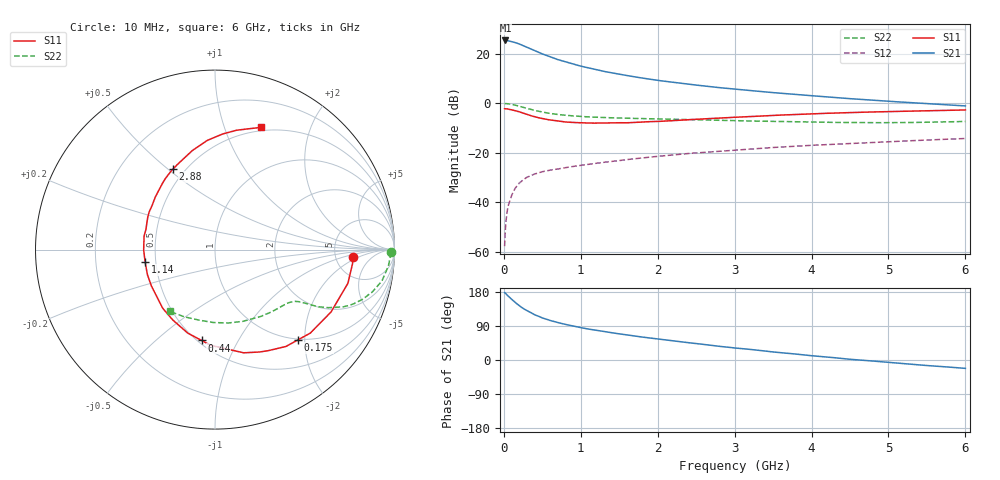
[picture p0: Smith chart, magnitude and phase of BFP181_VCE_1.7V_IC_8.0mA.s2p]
! Infineon Technologies  Discrete & RF Semiconductors
! BFP181
! VCE = 1.7 V,  IC =  8.0 mA
! Common Emitter S-Parameters:  Jan 2016
# GHz  S  MA  R  50
!  f  S11  S21  S12  S22
! GHz  MAG  ANG  MAG  ANG  MAG  ANG  MAG  ANG
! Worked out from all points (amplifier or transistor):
!   210 points, 10 MHz to 6 GHz, reference 50 ohm
!   highest |S21| = 25.3 dB at 20 MHz (marker M1)
!   |S21| within 3 dB of that: start of sweep to 320.4 MHz
!   unconditionally stable (mu >= 1): 1.113 GHz to end of sweep
!   at 185 MHz: K = 0.26, MSG = 28.4 dB, |S12| = -32.8 dB
!   at 1.52 GHz: K = 1.13, MAG = 15.1 dB, |S12| = -23.1 dB
!   at 6 GHz: K = 1.04, MAG = 5.4 dB, |S12| = -14.3 dB
!   S11 on the Smith chart (normalised r, x): 10 MHz: 7.31, -1.48; 175 MHz: 0.99, -1.86; 440 MHz: 0.52, -0.72; 1.14 GHz: 0.44, -0.07; 2.88 GHz: 0.43, +0.52; 6 GHz: 0.46, +1.34
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0.01  0.7678 -3.1  18.34 178.0  0.0013 75.6  0.9793 -0.9
0.02  0.7703 -5.8  18.35 176.4  0.0028 82.2  0.9782 -2.1
0.05  0.764 -14.2  18.19 169.9  0.0076 83.4  0.9701 -5.5
0.1  0.734 -28.3  17.43 160.4  0.0135 74.6  0.9464 -10.6
0.15  0.706 -41.2  16.59 151.4  0.0194 69.3  0.9083 -15.0
0.175  0.6833 -47.3  16.06 147.5  0.0218 66.8  0.8869 -16.8
0.2  0.6689 -53.8  15.61 143.3  0.0243 64.8  0.8664 -18.7
0.24  0.6361 -62.3  14.65 137.6  0.0274 61.5  0.8315 -21.2
0.3  0.5967 -74.5  13.42 130.2  0.0319 57.0  0.7818 -24.1
0.4  0.5337 -92.6  11.47 119.4  0.0371 52.1  0.7126 -27.0
0.44  0.5117 -98.4  10.79 116.3  0.0388 50.8  0.6911 -27.7
0.5  0.4896 -108.0  9.828 111.0  0.0413 49.1  0.6591 -28.9
0.7  0.4377 -131.8  7.559 98.8  0.0468 46.6  0.5886 -30.6
1.02  0.4001 -161.0  5.474 84.7  0.0559 45.5  0.5352 -32.6
1.14  0.3953 -169.9  4.958 80.4  0.0593 45.2  0.5234 -33.6
1.5  0.4023 169.1  3.822 68.9  0.0693 45.4  0.4993 -36.9
2.02  0.428 145.0  2.847 54.9  0.0848 44.1  0.479 -43.4
2.88  0.5063 117.5  1.997 34.4  0.1094 40.2  0.4477 -57.1
3.1  0.5252 111.8  1.855 30.0  0.1157 38.9  0.4388 -61.1
4.1  0.616 92.4  1.371 9.6  0.1431 32.1  0.4124 -81.9
5.1  0.6798 78.7  1.065 -7.8  0.1685 25.3  0.4033 -105.2
6  0.7277 69.3  0.877 -22.1  0.1932 18.5  0.4269 -126.4
